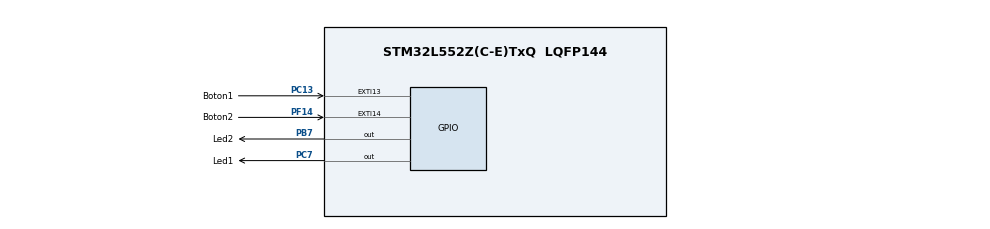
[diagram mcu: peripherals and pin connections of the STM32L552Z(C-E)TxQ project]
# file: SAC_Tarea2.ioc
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Mcu.Family=STM32L5
Mcu.Name=STM32L552Z(C-E)TxQ
Mcu.Package=LQFP144
NVIC.EXTI13_IRQn=true\:0\:0\:false\:false\:true\:true\:true\:true
NVIC.EXTI14_IRQn=true\:0\:0\:false\:false\:true\:true\:true\:true
NVIC.PriorityGroup=NVIC_PRIORITYGROUP_3
PB7.GPIO_Label=Led2
PB7.Signal=GPIO_Output
PC13.GPIO_Label=Boton1
PC13.GPIO_ModeDefaultEXTI=GPIO_MODE_IT_FALLING
PC13.Signal=GPXTI13
PC7.GPIO_Label=Led1
PC7.Signal=GPIO_Output
PF14.GPIO_Label=Boton2
PF14.GPIO_ModeDefaultEXTI=GPIO_MODE_IT_FALLING
PF14.Signal=GPXTI14
ProjectManager.HeapSize=0x200
ProjectManager.StackSize=0x400
ProjectManager.TargetToolchain=STM32CubeIDE
RCC.HSE_VALUE=16000000
RCC.HSI48_VALUE=48000000
RCC.HSI_VALUE=16000000
RCC.LSE_VALUE=32768
RCC.MSI_VALUE=4000000
RCC.VCOOutputFreq_Value=32000000
board=custom

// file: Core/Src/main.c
/* USER CODE BEGIN Header */
/**
  ******************************************************************************
  * @file           : main.c
  * @brief          : Main program body
  ******************************************************************************
  * @attention
  *
  * Copyright (c) 2024 STMicroelectronics.
  * All rights reserved.
  *
  * This software is licensed under terms that can be found in the LICENSE file
  * in the root directory of this software component.
  * If no LICENSE file comes with this software, it is provided AS-IS.
  *
  ******************************************************************************
  */
/* USER CODE END Header */
#include "main.h"

/* USER CODE BEGIN PTD */
typedef enum{
	ESTADO_0,
	ESTADO_1,
	ESTADO_2,
	ESTADO_3
} Estado;
/* USER CODE END PTD */

void SystemClock_Config(void);
static void MX_GPIO_Init(void);

/* USER CODE BEGIN 0 */
uint16_t estadosBoton1 = 0;
uint16_t estadosBoton2 = 0;
uint16_t estadosLed = 0;
uint8_t flag=0;
uint8_t flag1=0;
uint8_t estadoActual=0;
/* USER CODE END 0 */

int main(void)
{

  /* MCU Configuration--------------------------------------------------------*/

  /* Reset of all peripherals, Initializes the Flash interface and the Systick. */
  HAL_Init();

  /* Configure the system clock */
  SystemClock_Config();

  /* Initialize all configured peripherals */
  MX_GPIO_Init();

  /* Infinite loop */
  while (1)
  {

    /* USER CODE BEGIN 3 */
	  if(flag==1){
		  switch(estadoActual)
		  	  	  {
		  	  	  case ESTADO_1:
		  	  		  printf("Estado 0");
		  	  		  estadoActual = ESTADO_0;
		  	  		  HAL_GPIO_WritePin(Led1_GPIO_Port,Led1_Pin,RESET);
		  	  		  HAL_GPIO_WritePin(Led2_GPIO_Port,Led2_Pin,SET);
		  	  		  break;
		  	  	  case ESTADO_2:
		  	  		  printf("Estado 1");
		  	  		estadoActual = ESTADO_1;
		  	  		  HAL_GPIO_WritePin(Led1_GPIO_Port,Led1_Pin,SET);
		  	  		  HAL_GPIO_WritePin(Led2_GPIO_Port,Led2_Pin,RESET);
		  	  		break;
		  	  	  case ESTADO_3:
		  	  		printf("Estado 2");
		  	  		estadoActual = ESTADO_2;
		  	  		  HAL_GPIO_WritePin(Led1_GPIO_Port,Led1_Pin,SET);
		  	  		  HAL_GPIO_WritePin(Led2_GPIO_Port,Led2_Pin,SET);
		  	  		break;
		  	  	  case ESTADO_0:
		  	  		printf("Estado 3");
		  	  		estadoActual = ESTADO_3;
		  	  		  HAL_GPIO_WritePin(Led1_GPIO_Port,Led1_Pin,RESET);
		  	  		  HAL_GPIO_WritePin(Led2_GPIO_Port,Led2_Pin,RESET);
		  	  		break;
		  	  	  }
		  flag=0;
	  }
	  if(flag1==1){
	  		  switch(estadoActual)
	  		  	  	  {
	  		  	  	  case ESTADO_3:
	  		  	  	estadoActual = ESTADO_0;
	  		  	  		  HAL_GPIO_WritePin(Led1_GPIO_Port,Led1_Pin,RESET);
	  		  	  		  HAL_GPIO_WritePin(Led2_GPIO_Port,Led2_Pin,SET);
	  		  	  		  break;
	  		  	  	  case ESTADO_0:
	  		  	  	estadoActual = ESTADO_1;
	  		  	  		  HAL_GPIO_WritePin(Led1_GPIO_Port,Led1_Pin,SET);
	  		  	  		  HAL_GPIO_WritePin(Led2_GPIO_Port,Led2_Pin,RESET);
	  		  	  		break;
	  		  	  	  case ESTADO_1:
	  		  	  	estadoActual = ESTADO_2;
	  		  	  		  HAL_GPIO_WritePin(Led1_GPIO_Port,Led1_Pin,SET);
	  		  	  		  HAL_GPIO_WritePin(Led2_GPIO_Port,Led2_Pin,SET);
	  		  	  		break;
	  		  	  	  case ESTADO_2:
	  		  	  	estadoActual = ESTADO_3;
	  		  	  		  HAL_GPIO_WritePin(Led1_GPIO_Port,Led1_Pin,RESET);
	  		  	  		  HAL_GPIO_WritePin(Led2_GPIO_Port,Led2_Pin,RESET);
	  		  	  		break;
	  		  	  	  }
	  		  flag1=0;
	  	  }

  }
  /* USER CODE END 3 */
}

void SystemClock_Config(void)
{
  RCC_OscInitTypeDef RCC_OscInitStruct = {0};
  RCC_ClkInitTypeDef RCC_ClkInitStruct = {0};

  /** Configure the main internal regulator output voltage
  */
  if (HAL_PWREx_ControlVoltageScaling(PWR_REGULATOR_VOLTAGE_SCALE2) != HAL_OK)
  {
    Error_Handler();
  }

  /** Initializes the RCC Oscillators according to the specified parameters
  * in the RCC_OscInitTypeDef structure.
  */
  RCC_OscInitStruct.OscillatorType = RCC_OSCILLATORTYPE_MSI;
  RCC_OscInitStruct.MSIState = RCC_MSI_ON;
  RCC_OscInitStruct.MSICalibrationValue = RCC_MSICALIBRATION_DEFAULT;
  RCC_OscInitStruct.MSIClockRange = RCC_MSIRANGE_6;
  RCC_OscInitStruct.PLL.PLLState = RCC_PLL_NONE;
  if (HAL_RCC_OscConfig(&RCC_OscInitStruct) != HAL_OK)
  {
    Error_Handler();
  }

  /** Initializes the CPU, AHB and APB buses clocks
  */
  RCC_ClkInitStruct.ClockType = RCC_CLOCKTYPE_HCLK|RCC_CLOCKTYPE_SYSCLK
                              |RCC_CLOCKTYPE_PCLK1|RCC_CLOCKTYPE_PCLK2;
  RCC_ClkInitStruct.SYSCLKSource = RCC_SYSCLKSOURCE_MSI;
  RCC_ClkInitStruct.AHBCLKDivider = RCC_SYSCLK_DIV1;
  RCC_ClkInitStruct.APB1CLKDivider = RCC_HCLK_DIV1;
  RCC_ClkInitStruct.APB2CLKDivider = RCC_HCLK_DIV1;

  if (HAL_RCC_ClockConfig(&RCC_ClkInitStruct, FLASH_LATENCY_0) != HAL_OK)
  {
    Error_Handler();
  }
}

static void MX_GPIO_Init(void)
{
  GPIO_InitTypeDef GPIO_InitStruct = {0};

  /* GPIO Ports Clock Enable */
  __HAL_RCC_GPIOC_CLK_ENABLE();
  __HAL_RCC_GPIOF_CLK_ENABLE();
  __HAL_RCC_GPIOB_CLK_ENABLE();

  /*Configure GPIO pin Output Level */
  HAL_GPIO_WritePin(Led1_GPIO_Port, Led1_Pin, GPIO_PIN_RESET);

  /*Configure GPIO pin Output Level */
  HAL_GPIO_WritePin(Led2_GPIO_Port, Led2_Pin, GPIO_PIN_RESET);

  /*Configure GPIO pin : Boton1_Pin */
  GPIO_InitStruct.Pin = Boton1_Pin;
  GPIO_InitStruct.Mode = GPIO_MODE_IT_FALLING;
  GPIO_InitStruct.Pull = GPIO_NOPULL;
  HAL_GPIO_Init(Boton1_GPIO_Port, &GPIO_InitStruct);

  /*Configure GPIO pin : Boton2_Pin */
  GPIO_InitStruct.Pin = Boton2_Pin;
  GPIO_InitStruct.Mode = GPIO_MODE_IT_FALLING;
  GPIO_InitStruct.Pull = GPIO_NOPULL;
  HAL_GPIO_Init(Boton2_GPIO_Port, &GPIO_InitStruct);

  /*Configure GPIO pin : Led1_Pin */
  GPIO_InitStruct.Pin = Led1_Pin;
  GPIO_InitStruct.Mode = GPIO_MODE_OUTPUT_PP;
  GPIO_InitStruct.Pull = GPIO_NOPULL;
  GPIO_InitStruct.Speed = GPIO_SPEED_FREQ_LOW;
  HAL_GPIO_Init(Led1_GPIO_Port, &GPIO_InitStruct);

  /*Configure GPIO pin : Led2_Pin */
  GPIO_InitStruct.Pin = Led2_Pin;
  GPIO_InitStruct.Mode = GPIO_MODE_OUTPUT_PP;
  GPIO_InitStruct.Pull = GPIO_NOPULL;
  GPIO_InitStruct.Speed = GPIO_SPEED_FREQ_LOW;
  HAL_GPIO_Init(Led2_GPIO_Port, &GPIO_InitStruct);

  /* EXTI interrupt init*/
  HAL_NVIC_SetPriority(EXTI13_IRQn, 0, 0);
  HAL_NVIC_EnableIRQ(EXTI13_IRQn);

  HAL_NVIC_SetPriority(EXTI14_IRQn, 0, 0);
  HAL_NVIC_EnableIRQ(EXTI14_IRQn);

}

/* USER CODE BEGIN 4 */
void HAL_GPIO_EXTI_Falling_Callback(uint16_t GPIO_Pin){
	if(GPIO_Pin == Boton1_Pin){
		flag=1;
	}
	if(GPIO_Pin == Boton2_Pin){
		flag1=1;
		}
}

int _write(int file, char *ptr, int len){
	int DataIdx;
	for(DataIdx=0; DataIdx<len; DataIdx++){
		ITM_SendChar(*ptr++);
	}
	return len;
}
/* USER CODE END 4 */

void Error_Handler(void)
{
  __disable_irq();
  while (1)
  {
  }
}
